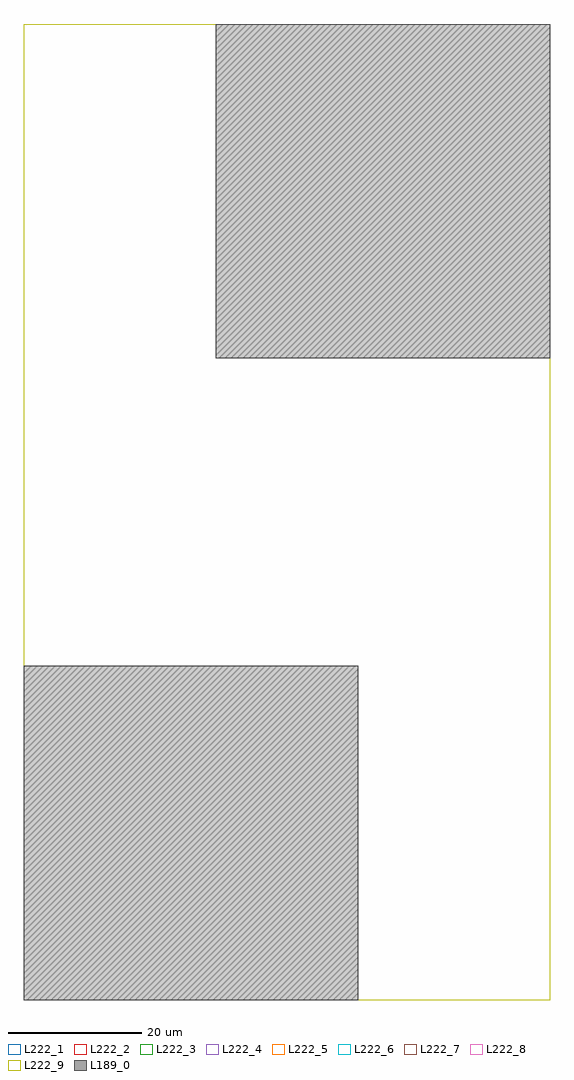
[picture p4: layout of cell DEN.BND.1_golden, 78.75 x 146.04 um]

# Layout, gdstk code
import gdstk
lib = gdstk.Library(unit=1e-6, precision=1e-09)
def R(c, l, rs):  # rectangles x0, y0, x1, y1
    for r in rs: c.add(gdstk.rectangle(r[:2], r[2:], *l))
L189_0 = (189, 0)
L222_1 = (222, 1)
L222_2 = (222, 2)
L222_3 = (222, 3)
L222_4 = (222, 4)
L222_5 = (222, 5)
L222_6 = (222, 6)
L222_7 = (222, 7)
L222_8 = (222, 8)
L222_9 = (222, 9)

den_bnd_1_golden = lib.new_cell('DEN.BND.1_golden')
R(den_bnd_1_golden, L189_0, [(0,0,50,50), (28.75,96.04,78.75,146.04)])
R(den_bnd_1_golden, L222_1, [(0,0,78.75,146.04)])
R(den_bnd_1_golden, L222_2, [(0,0,78.75,146.04)])
R(den_bnd_1_golden, L222_3, [(0,0,78.75,146.04)])
R(den_bnd_1_golden, L222_4, [(0,0,78.75,146.04)])
R(den_bnd_1_golden, L222_5, [(0,0,78.75,146.04)])
R(den_bnd_1_golden, L222_6, [(0,0,78.75,146.04)])
R(den_bnd_1_golden, L222_7, [(0,0,78.75,146.04)])
R(den_bnd_1_golden, L222_8, [(0,0,78.75,146.04)])
R(den_bnd_1_golden, L222_9, [(0,0,78.75,146.04)])

lib.write_gds('DEN.BND.1_golden.gds')
